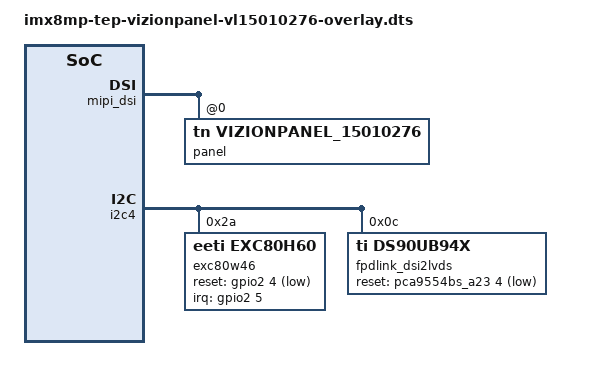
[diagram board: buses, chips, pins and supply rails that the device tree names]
// SPDX-License-Identifier: (GPL-2.0+ OR MIT)
/*
 * Copyright 2020 TechNexion Ltd.
 *
 * Author: Richard Hu <richard.hu@technexion.com>
 *
 */

/dts-v1/;
/plugin/;

#include <dt-bindings/interrupt-controller/irq.h>
#include <dt-bindings/gpio/gpio.h>

/ {
	fragment@0 {
		target-path = "/";
		__overlay__ {
			backlight_mipi {
				status = "okay";
			};
		};
	};

	fragment@1 {
		target = <&mipi_dsi>;
		__overlay__ {
			status = "okay";
			#address-cells = <1>;
			#size-cells = <0>;

			panel@0 {
				compatible = "tn,vizionpanel_15010276";
				reg = <0>;
				status = "okay";
			};
		};
	};

	fragment@2 {
		target = <&i2c4>;
		__overlay__ {
			#address-cells = <1>;
			#size-cells = <0>;
			status = "okay";

			exc80w46: touchscreen@2a {
				compatible = "eeti,exc80h60";
				pinctrl-names = "default";
				pinctrl-0 = <&pinctrl_mipi_touch_irq>;
				reg = <0x2a>;
				interrupt-parent = <&gpio2>;
				interrupts = <5 IRQ_TYPE_LEVEL_LOW>;
				reset-gpios = <&gpio2 4 GPIO_ACTIVE_LOW>;
				status = "okay";
			};
#if 0
			polytouch: edt-ft5x06@38 {
                                compatible = "edt,edt-ft5x06";
                                pinctrl-names = "default";
                                pinctrl-0 = <&pinctrl_mipi_touch_irq>;
                                reg = <0x38>;
                                interrupt-parent = <&gpio2>;
                                interrupts = <5 IRQ_TYPE_LEVEL_LOW>;
                                reset-gpios = <&pca9554bs_a23 0 GPIO_ACTIVE_LOW>;
                                touchscreen-size-x = <800>;
                                touchscreen-size-y = <480>;
                        };
#endif
			fpdlink_dsi2lvds: ds90ub948@c {
				compatible = "ti,ds90ub94x";
				reg = <0x0c>;
				status = "okay";
				reset-gpios = <&pca9554bs_a23 4 GPIO_ACTIVE_LOW>;
			};
		};
	};
};
